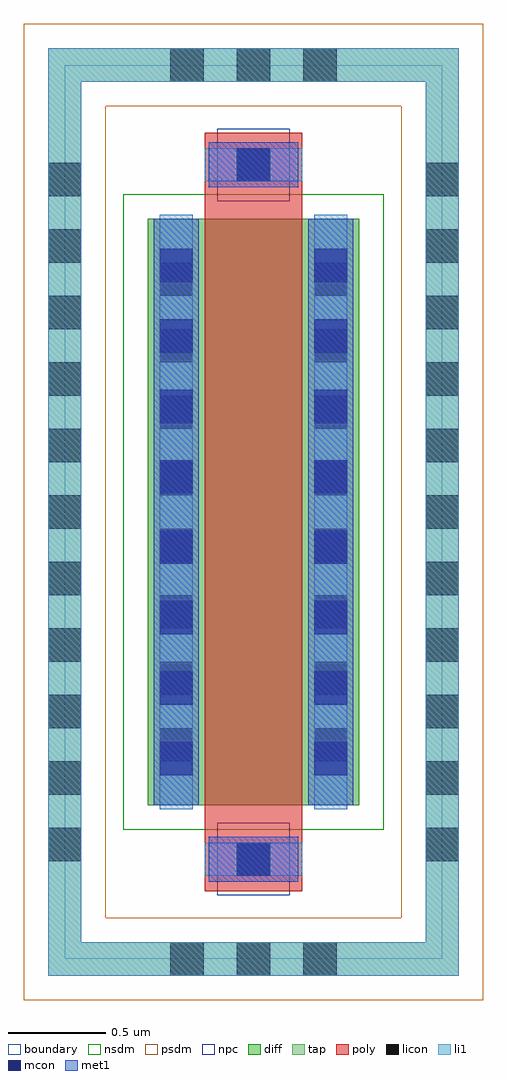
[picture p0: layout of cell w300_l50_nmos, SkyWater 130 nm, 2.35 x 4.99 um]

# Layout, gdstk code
import gdstk
lib = gdstk.Library(unit=1e-6, precision=1e-09)
def R(c, l, rs):  # rectangles x0, y0, x1, y1
    for r in rs: c.add(gdstk.rectangle(r[:2], r[2:], *l))
def A(c, l, x, y, w, h, nx, ny, dx, dy):  # array of equal rectangles
    R(c, l, [(x+i*dx, y+j*dy, x+i*dx+w, y+j*dy+h) for i in range(nx) for j in range(ny)])
diff = (65, 20)
tap = (65, 44)
poly = (66, 20)
licon = (66, 44)
li1 = (67, 20)
mcon = (67, 44)
met1 = (68, 20)
nsdm = (93, 44)
psdm = (94, 20)
npc = (95, 20)
boundary = (235, 4)

sky130_fd_pr__nfet_01v8 = lib.new_cell('sky130_fd_pr__nfet_01v8')

w300_l50_nmos = lib.new_cell('w300_l50_nmos')
R(w300_l50_nmos, diff, [(-0.54,-1.5,0.54,1.5)])
R(w300_l50_nmos, tap, [(-1.05,-2.37,1.05,-2.2), (-1.05,-2.2,-0.88,2.2), (0.88,-2.2,1.05,2.2), (-1.05,2.2,1.05,2.37)])
R(w300_l50_nmos, poly, [(-0.25,-1.94,0.25,1.94)])
A(w300_l50_nmos, licon, -0.425, -2.37, 0.17, 0.17, 3, 2, 0.34, 4.57)
A(w300_l50_nmos, licon, -1.05, -1.785, 0.17, 0.17, 1, 11, 0, 0.34)
A(w300_l50_nmos, licon, 0.88, -1.785, 0.17, 0.17, 1, 11, 0, 0.34)
A(w300_l50_nmos, licon, -0.48, -1.275, 0.17, 0.17, 1, 8, 0, 0.34)
A(w300_l50_nmos, licon, 0.31, -1.275, 0.17, 0.17, 1, 8, 0, 0.34)
R(w300_l50_nmos, licon, [(-0.085,-1.86,0.085,-1.69), (-0.085,1.69,0.085,1.86)])
R(w300_l50_nmos, li1, [(-1.05,-2.37,1.05,-2.2), (-1.05,-2.2,-0.88,2.2), (0.88,-2.2,1.05,2.2), (-0.25,-1.86,0.25,-1.69), (-0.48,-1.52,-0.31,1.52), (0.31,-1.52,0.48,1.52), (-0.25,1.69,0.25,1.86), (-1.05,2.2,1.05,2.37)])
A(w300_l50_nmos, mcon, -0.48, -1.345, 0.17, 0.17, 1, 8, 0, 0.36)
A(w300_l50_nmos, mcon, 0.31, -1.345, 0.17, 0.17, 1, 8, 0, 0.36)
R(w300_l50_nmos, mcon, [(-0.085,-1.86,0.085,-1.69), (-0.085,1.69,0.085,1.86)])
R(w300_l50_nmos, met1, [(-0.23,-1.89,0.23,-1.66), (-0.51,-1.5,-0.28,1.5), (0.28,-1.5,0.51,1.5), (-0.23,1.66,0.23,1.89)])
R(w300_l50_nmos, nsdm, [(-0.665,-1.625,0.665,1.625)])
R(w300_l50_nmos, psdm, [(-1.175,-2.495,1.175,-2.075), (-1.175,-2.075,-0.755,2.075), (0.755,-2.075,1.175,2.075), (-1.175,2.075,1.175,2.495)])
R(w300_l50_nmos, npc, [(-0.185,-1.96,0.185,-1.59), (-0.185,1.59,0.185,1.96)])
R(w300_l50_nmos, boundary, [(-0.965,-2.285,0.965,2.285)])
w300_l50_nmos.add(gdstk.Reference(sky130_fd_pr__nfet_01v8, (0,0)))

lib.write_gds('w300_l50_nmos.gds')
